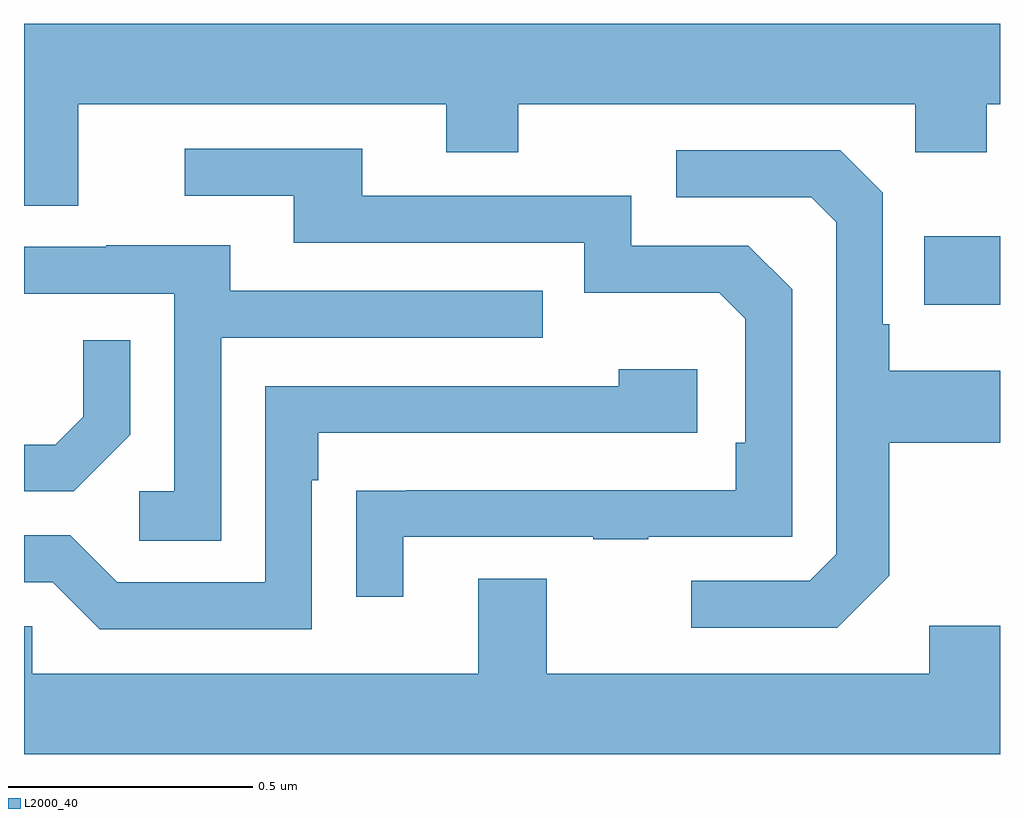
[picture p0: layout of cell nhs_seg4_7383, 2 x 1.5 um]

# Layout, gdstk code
import gdstk
lib = gdstk.Library(unit=1e-6, precision=1e-09)
def R(c, l, rs):  # rectangles x0, y0, x1, y1
    for r in rs: c.add(gdstk.rectangle(r[:2], r[2:], *l))
def P(c, l, *ps):  # polygons
    for p in ps: c.add(gdstk.Polygon(p, *l))
L2000_40 = (2000, 40)

nhs_seg4_7383 = lib.new_cell('nhs_seg4_7383')
R(nhs_seg4_7383, L2000_40, [(203.845,763.109,204,763.249)])
P(nhs_seg4_7383, L2000_40, [(202.111,763.52),(202.865,763.52),(202.865,763.421),(203.013,763.421),(203.013,763.52),(203.826,763.52),(203.826,763.421),(203.973,763.421),(203.973,763.52),(204,763.52),(204,763.684),(202,763.684),(202,763.312),(202.111,763.312)],
  [(202.777,762.633),(203.167,762.633),(203.167,762.628),(203.279,762.628),(203.279,762.633),(203.574,762.633),(203.574,763.14),(203.484,763.23),(203.244,763.23),(203.244,763.332),(202.693,763.332),(202.693,763.428),(202.329,763.428),(202.329,763.332),(202.553,763.332),(202.553,763.236),(203.148,763.236),(203.148,763.133),(203.425,763.133),(203.478,763.08),(203.478,762.826),(203.458,762.826),(203.458,762.729),(202.783,762.729),(202.783,762.728),(202.681,762.728),(202.681,762.51),(202.777,762.51)],
  [(203.773,762.553),(203.773,762.826),(204,762.826),(204,762.973),(203.773,762.973),(203.773,763.069),(203.76,763.069),(203.76,763.338),(203.673,763.425),(203.337,763.425),(203.337,763.329),(203.613,763.329),(203.664,763.278),(203.664,762.597),(203.61,762.543),(203.367,762.543),(203.367,762.447),(203.667,762.447)],
  [(202.404,763.041),(203.063,763.041),(203.063,763.137),(202.423,763.137),(202.423,763.231),(202.169,763.231),(202.169,763.227),(202,763.227),(202,763.131),(202.308,763.131),(202.308,762.726),(202.236,762.726),(202.236,762.625),(202.404,762.625)],
  [(202.218,762.842),(202.218,763.036),(202.121,763.036),(202.121,762.879),(202.064,762.822),(202,762.822),(202,762.726),(202.102,762.726)],
  [(202.59,762.749),(202.603,762.749),(202.603,762.846),(203.38,762.846),(203.38,762.976),(203.219,762.976),(203.219,762.942),(202.494,762.942),(202.494,762.54),(202.191,762.54),(202.095,762.636),(202,762.636),(202,762.54),(202.059,762.54),(202.155,762.444),(202.59,762.444)],
  [(204,762.451),(203.855,762.451),(203.855,762.352),(203.071,762.352),(203.071,762.547),(202.931,762.547),(202.931,762.352),(202.017,762.352),(202.017,762.45),(202,762.45),(202,762.188),(204,762.188)])

lib.write_gds('nhs_seg4_7383.gds')
